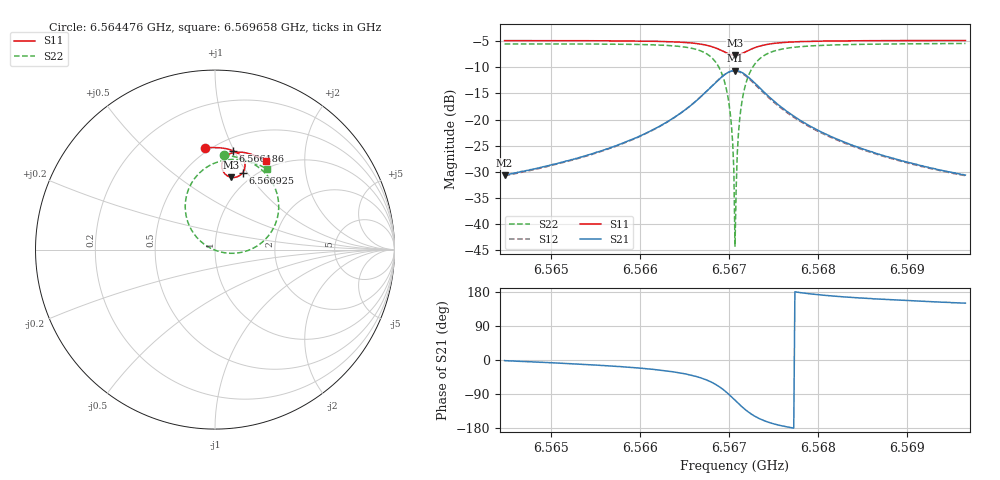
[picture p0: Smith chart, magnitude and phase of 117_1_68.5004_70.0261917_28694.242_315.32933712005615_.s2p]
#  HZ  S  RI  R  50.00
! Rohde & Schwarz Vector Network Analyzer
! Rohde-Schwarz,ZNB20-2Port,1311601062101988,3.16
! Created: UTC 3/20/2024, 4:53:48 PM
! freq[Hz]  re:S11  im:S11  re:S21  im:S21  re:S12  im:S12  re:S22  im:S22
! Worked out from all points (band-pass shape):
!   401 points, 6.564476 GHz to 6.569658 GHz, reference 50 ohm
!   highest |S21| = -10.62 dB at 6.567067 GHz (marker M1); lowest = -30.6 dB at 6.564476 GHz (marker M2)
!   |S21| within 3 dB of the highest: 6.566808 GHz to 6.567326 GHz (518.3 kHz wide, 0.00789 % of centre)
!   lowest |S11| = -7.7 dB at 6.567067 GHz (marker M3), VSWR 2.41, Z = 41.7 + j40.5 ohm
!   |S11| at or under -10 dB: nowhere
!   |S22| runs from -44.2 to -5.4 dB; largest |S21 - S12| = 0.014
!   S11 on the Smith chart (normalised r, x): 6.564476 GHz: 0.47, +0.79; 6.566186 GHz: 0.62, +0.99; 6.566925 GHz: 0.88, +0.95; 6.569658 GHz: 0.89, +1.31
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6.5644765e9  -0.053 0.5668  0.0294 -0.000821  0.029 -0.00147  0.0493 0.5263
6.5653444e9  0.0189 0.5678  0.043 -0.00874  0.0424 -0.00932  0.1338 0.5111
6.5661863e9  0.0995 0.5515  0.0752 -0.0362  0.074 -0.0371  0.2502 0.453
6.5662122e9  0.1024 0.5503  0.0767 -0.0381  0.0756 -0.039  0.2547 0.4491
6.5667174e9  0.1622 0.4945  0.113 -0.1346  0.1103 -0.1374  0.3544 0.2612
6.566834e9  0.1666 0.4605  0.1016 -0.1944  0.0965 -0.1982  0.338 0.1469
6.5669247e9  0.1533 0.4274  0.0613 -0.251  0.0524 -0.2541  0.2637 0.0417
6.5670024e9  0.1228 0.4052  -0.00792 -0.2857  -0.0205 -0.2849  0.1352 -0.0176
6.5670283e9  0.1092 0.4022  -0.0369 -0.2889  -0.0501 -0.2859  0.083 -0.0205
6.5670413e9  0.102 0.4018  -0.0519 -0.2884  -0.065 -0.2844  0.0564 -0.0181
6.5670542e9  0.0949 0.402  -0.0667 -0.2863  -0.0798 -0.2811  0.0299 -0.0127
6.5670672e9  0.0877 0.4034  -0.0816 -0.2829  -0.0942 -0.2764  0.004 -0.00466
6.5670931e9  0.0741 0.4081  -0.1096 -0.2716  -0.1212 -0.2631  -0.044 0.0191
6.567106e9  0.0679 0.4116  -0.1226 -0.2641  -0.1333 -0.2545  -0.0656 0.0341
6.567119e9  0.0621 0.4157  -0.1344 -0.2554  -0.1444 -0.245  -0.0853 0.0511
6.5671449e9  0.0523 0.4253  -0.1549 -0.2357  -0.1629 -0.2241  -0.1177 0.0889
6.5671967e9  0.0403 0.4476  -0.1814 -0.1907  -0.1855 -0.1786  -0.1568 0.1711
6.5672615e9  0.0379 0.475  -0.1915 -0.1374  -0.1915 -0.1264  -0.1645 0.2654
6.5675076e9  0.0761 0.5303  -0.1468 -0.0289  -0.1434 -0.0244  -0.0616 0.4481
6.5679351e9  0.1391 0.5433  -0.0839 0.00882  -0.0817 0.0101  0.0786 0.5014
6.568803e9  0.222 0.5243  -0.0407 0.0155  -0.0398 0.0158  0.2098 0.485
6.5696579e9  0.2861 0.4942  -0.0255 0.0146  -0.0249 0.0148  0.2874 0.4504
